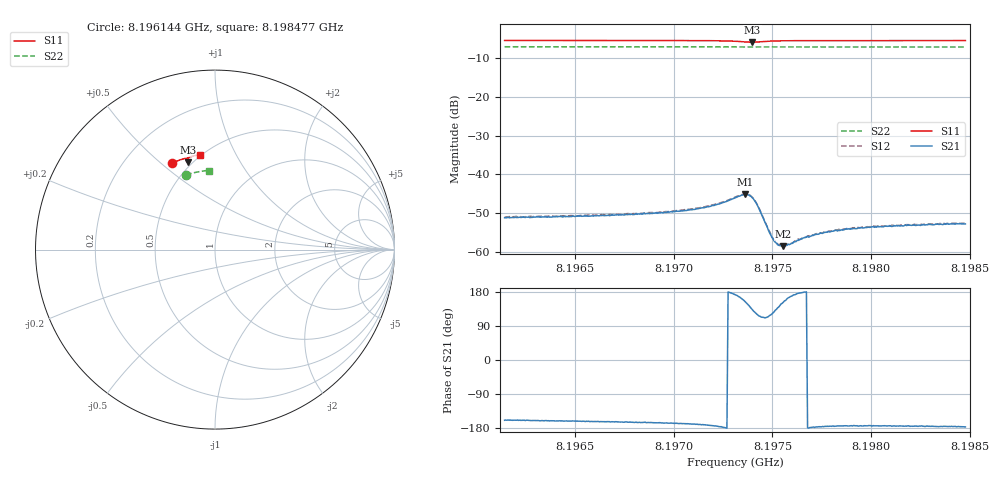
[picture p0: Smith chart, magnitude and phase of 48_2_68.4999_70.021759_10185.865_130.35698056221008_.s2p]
#  HZ  S  RI  R  50.00
! Rohde & Schwarz Vector Network Analyzer
! Rohde-Schwarz,ZNB20-2Port,1311601062101988,3.16
! Created: UTC 3/20/2024, 4:50:43 PM
! freq[Hz]  re:S11  im:S11  re:S21  im:S21  re:S12  im:S12  re:S22  im:S22
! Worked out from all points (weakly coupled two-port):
!   401 points, 8.196144 GHz to 8.198477 GHz, reference 50 ohm
!   highest |S21| = -45.17 dB at 8.197363 GHz (marker M1); lowest = -58.5 dB at 8.197555 GHz (marker M2)
!   lowest |S11| = -5.9 dB at 8.197398 GHz (marker M3), VSWR 3.08, Z = 23.8 + j31.2 ohm
!   |S11| at or under -10 dB: nowhere
!   |S22| runs from -7.1 to -7.0 dB; largest |S21 - S12| = 0.00029
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8.1961438e9  -0.2374 0.4817  -0.00258 -0.00099  -0.00267 -0.000923  -0.161 0.4157
8.1965346e9  -0.2115 0.4932  -0.00274 -0.00089  -0.00285 -0.000798  -0.1402 0.4225
8.1969254e9  -0.1841 0.5032  -0.0031 -0.000806  -0.00317 -0.0007  -0.119 0.4281
8.1970538e9  -0.174 0.5061  -0.00334 -0.00071  -0.00346 -0.0006  -0.1122 0.4299
8.1971646e9  -0.1642 0.5079  -0.00374 -0.000554  -0.00387 -0.000396  -0.1058 0.4312
8.1972463e9  -0.1553 0.508  -0.00431 -0.000216  -0.00438 -1.63e-05  -0.1014 0.4319
8.1973104e9  -0.1467 0.5042  -0.00495 0.00063  -0.00502 0.000855  -0.0977 0.4327
8.1973629e9  -0.1429 0.4939  -0.00493 0.00248  -0.00494 0.00271  -0.0949 0.433
8.1973804e9  -0.145 0.4896  -0.0044 0.00319  -0.00428 0.00344  -0.094 0.433
8.1973979e9  -0.1495 0.4869  -0.00341 0.00365  -0.00331 0.00384  -0.0932 0.4332
8.1974271e9  -0.1577 0.4888  -0.00182 0.00339  -0.0017 0.0035  -0.0919 0.4334
8.1974854e9  -0.1607 0.5008  -0.000813 0.00157  -0.000763 0.00167  -0.0888 0.4343
8.1975088e9  -0.1588 0.5043  -0.000836 0.0011  -0.000786 0.00116  -0.0874 0.4347
8.1975321e9  -0.1567 0.5069  -0.000929 0.000785  -0.00094 0.000814  -0.0861 0.4348
8.1975554e9  -0.1545 0.509  -0.00105 0.000546  -0.00111 0.000599  -0.0847 0.4351
8.1975904e9  -0.151 0.5112  -0.00123 0.00028  -0.00125 0.000343  -0.0829 0.4354
8.1976662e9  -0.1441 0.5145  -0.00154 1.74e-05  -0.00155 7.14e-05  -0.0786 0.4362
8.1977012e9  -0.1412 0.5157  -0.00162 -7.45e-05  -0.00167 6e-08  -0.0766 0.4365
8.1977712e9  -0.1355 0.5176  -0.0018 -0.000152  -0.00184 -5.47e-05  -0.0727 0.437
8.1978762e9  -0.1274 0.5199  -0.00196 -0.000216  -0.002 -0.000142  -0.0669 0.4378
8.1980921e9  -0.1114 0.5236  -0.00214 -0.000235  -0.00218 -0.000143  -0.0547 0.439
8.198477e9  -0.0837 0.5284  -0.0023 -0.000138  -0.00235 -8.23e-05  -0.0329 0.4405
